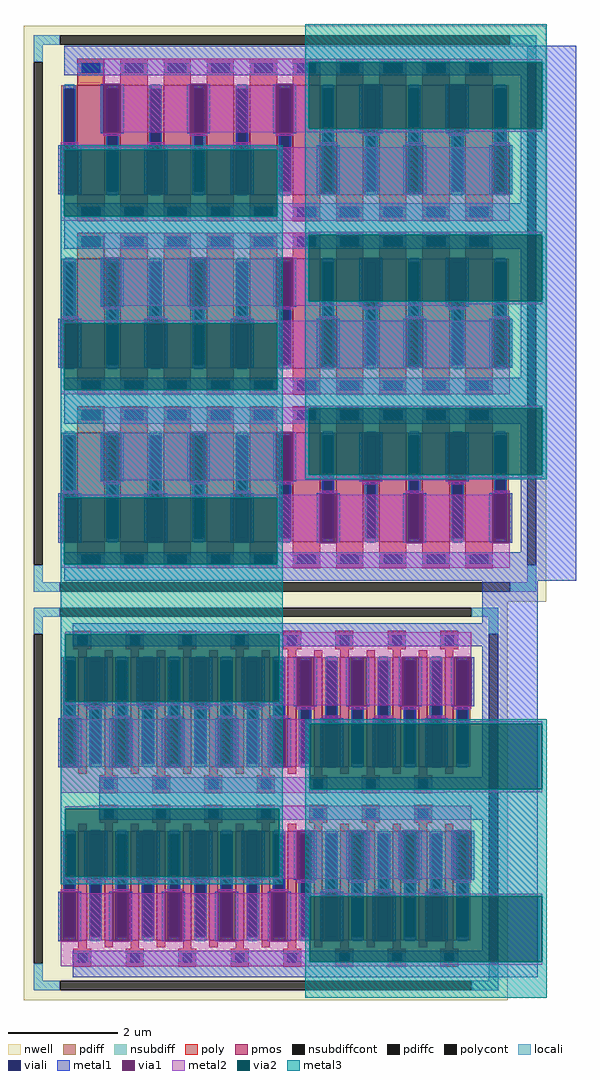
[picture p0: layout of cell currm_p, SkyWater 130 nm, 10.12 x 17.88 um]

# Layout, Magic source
magic
tech sky130A
magscale 1 2
<< metal1 >>
rect 1348 3588 3224 3696
rect 1482 3376 1492 3556
rect 1556 3376 1566 3556
rect 1798 3376 1808 3556
rect 1872 3376 1882 3556
rect 2114 3376 2124 3556
rect 2188 3376 2198 3556
rect 2430 3376 2440 3556
rect 2504 3376 2514 3556
rect 2746 3376 2756 3556
rect 2820 3376 2830 3556
rect 1326 3152 1336 3332
rect 1400 3152 1410 3332
rect 1642 3152 1652 3332
rect 1716 3152 1726 3332
rect 1958 3152 1968 3332
rect 2032 3152 2042 3332
rect 2274 3152 2284 3332
rect 2348 3152 2358 3332
rect 2590 3152 2600 3332
rect 2664 3152 2674 3332
rect 2906 3152 2916 3332
rect 2980 3152 2990 3332
rect 3020 3120 3224 3588
rect 1348 2952 3224 3120
rect 1482 2740 1492 2920
rect 1556 2740 1566 2920
rect 1798 2740 1808 2920
rect 1872 2740 1882 2920
rect 2114 2740 2124 2920
rect 2188 2740 2198 2920
rect 2430 2740 2440 2920
rect 2504 2740 2514 2920
rect 2746 2740 2756 2920
rect 2820 2740 2830 2920
rect 1326 2516 1336 2696
rect 1400 2516 1410 2696
rect 1642 2516 1652 2696
rect 1716 2516 1726 2696
rect 1958 2516 1968 2696
rect 2032 2516 2042 2696
rect 2274 2516 2284 2696
rect 2348 2516 2358 2696
rect 2590 2516 2600 2696
rect 2664 2516 2674 2696
rect 2906 2516 2916 2696
rect 2980 2516 2990 2696
rect 3020 2480 3224 2952
rect 1348 2312 3224 2480
rect 1482 2100 1492 2280
rect 1556 2100 1566 2280
rect 1798 2100 1808 2280
rect 1872 2100 1882 2280
rect 2114 2100 2124 2280
rect 2188 2100 2198 2280
rect 2430 2100 2440 2280
rect 2504 2100 2514 2280
rect 2746 2100 2756 2280
rect 2820 2100 2830 2280
rect 1326 1876 1336 2056
rect 1400 1876 1410 2056
rect 1642 1876 1652 2056
rect 1716 1876 1726 2056
rect 1958 1876 1968 2056
rect 2032 1876 2042 2056
rect 2274 1876 2284 2056
rect 2348 1876 2358 2056
rect 2590 1876 2600 2056
rect 2664 1876 2674 2056
rect 2906 1876 2916 2056
rect 2980 1876 2990 2056
rect 3020 1840 3224 2312
rect 1348 1736 3224 1840
rect 2880 1580 3084 1736
rect 1380 1496 3084 1580
rect 1422 1276 1432 1456
rect 1496 1276 1506 1456
rect 1614 1276 1624 1456
rect 1688 1276 1698 1456
rect 1806 1276 1816 1456
rect 1880 1276 1890 1456
rect 1998 1276 2008 1456
rect 2072 1276 2082 1456
rect 2190 1276 2200 1456
rect 2264 1276 2274 1456
rect 2382 1276 2392 1456
rect 2456 1276 2466 1456
rect 2574 1276 2584 1456
rect 2648 1276 2658 1456
rect 2766 1276 2776 1456
rect 2840 1276 2850 1456
rect 1326 1052 1336 1232
rect 1400 1052 1410 1232
rect 1514 1052 1524 1232
rect 1588 1052 1598 1232
rect 1706 1052 1716 1232
rect 1780 1052 1790 1232
rect 1902 1052 1912 1232
rect 1976 1052 1986 1232
rect 2094 1052 2104 1232
rect 2168 1052 2178 1232
rect 2286 1052 2296 1232
rect 2360 1052 2370 1232
rect 2478 1052 2488 1232
rect 2552 1052 2562 1232
rect 2670 1052 2680 1232
rect 2744 1052 2754 1232
rect 2880 1016 3084 1496
rect 1476 860 3084 1016
rect 1422 640 1432 820
rect 1496 640 1506 820
rect 1614 640 1624 820
rect 1688 640 1698 820
rect 1806 640 1816 820
rect 1880 640 1890 820
rect 1998 640 2008 820
rect 2072 640 2082 820
rect 2190 640 2200 820
rect 2264 640 2274 820
rect 2382 640 2392 820
rect 2456 640 2466 820
rect 2574 640 2584 820
rect 2648 640 2658 820
rect 2766 640 2776 820
rect 2840 640 2850 820
rect 1326 416 1336 596
rect 1400 416 1410 596
rect 1514 416 1524 596
rect 1588 416 1598 596
rect 1706 416 1716 596
rect 1780 416 1790 596
rect 1902 416 1912 596
rect 1976 416 1986 596
rect 2094 416 2104 596
rect 2168 416 2178 596
rect 2286 416 2296 596
rect 2360 416 2370 596
rect 2478 416 2488 596
rect 2552 416 2562 596
rect 2670 416 2680 596
rect 2744 416 2754 596
rect 2880 380 3084 860
rect 1380 284 3084 380
<< via1 >>
rect 1492 3376 1556 3556
rect 1808 3376 1872 3556
rect 2124 3376 2188 3556
rect 2440 3376 2504 3556
rect 2756 3376 2820 3556
rect 1336 3152 1400 3332
rect 1652 3152 1716 3332
rect 1968 3152 2032 3332
rect 2284 3152 2348 3332
rect 2600 3152 2664 3332
rect 2916 3152 2980 3332
rect 1492 2740 1556 2920
rect 1808 2740 1872 2920
rect 2124 2740 2188 2920
rect 2440 2740 2504 2920
rect 2756 2740 2820 2920
rect 1336 2516 1400 2696
rect 1652 2516 1716 2696
rect 1968 2516 2032 2696
rect 2284 2516 2348 2696
rect 2600 2516 2664 2696
rect 2916 2516 2980 2696
rect 1492 2100 1556 2280
rect 1808 2100 1872 2280
rect 2124 2100 2188 2280
rect 2440 2100 2504 2280
rect 2756 2100 2820 2280
rect 1336 1876 1400 2056
rect 1652 1876 1716 2056
rect 1968 1876 2032 2056
rect 2284 1876 2348 2056
rect 2600 1876 2664 2056
rect 2916 1876 2980 2056
rect 1432 1276 1496 1456
rect 1624 1276 1688 1456
rect 1816 1276 1880 1456
rect 2008 1276 2072 1456
rect 2200 1276 2264 1456
rect 2392 1276 2456 1456
rect 2584 1276 2648 1456
rect 2776 1276 2840 1456
rect 1336 1052 1400 1232
rect 1524 1052 1588 1232
rect 1716 1052 1780 1232
rect 1912 1052 1976 1232
rect 2104 1052 2168 1232
rect 2296 1052 2360 1232
rect 2488 1052 2552 1232
rect 2680 1052 2744 1232
rect 1432 640 1496 820
rect 1624 640 1688 820
rect 1816 640 1880 820
rect 2008 640 2072 820
rect 2200 640 2264 820
rect 2392 640 2456 820
rect 2584 640 2648 820
rect 2776 640 2840 820
rect 1336 416 1400 596
rect 1524 416 1588 596
rect 1716 416 1780 596
rect 1912 416 1976 596
rect 2104 416 2168 596
rect 2296 416 2360 596
rect 2488 416 2552 596
rect 2680 416 2744 596
<< metal2 >>
rect 1492 3646 2820 3648
rect 1492 3636 3100 3646
rect 1492 3556 2244 3636
rect 1556 3380 1808 3556
rect 1492 3366 1556 3376
rect 1872 3380 2124 3556
rect 1808 3366 1872 3376
rect 2188 3392 2244 3556
rect 2188 3380 2440 3392
rect 2124 3366 2188 3376
rect 2504 3380 2756 3392
rect 2440 3366 2504 3376
rect 2820 3382 3100 3392
rect 2756 3366 2820 3376
rect 1336 3332 1400 3342
rect 1652 3332 1716 3342
rect 1400 3316 1652 3326
rect 1968 3332 2032 3342
rect 1716 3316 1968 3326
rect 2284 3332 2348 3342
rect 2032 3324 2128 3326
rect 2032 3316 2284 3324
rect 2128 3152 2284 3316
rect 2600 3332 2664 3342
rect 2348 3152 2600 3324
rect 2916 3332 2980 3342
rect 2664 3152 2916 3324
rect 1336 3072 1348 3152
rect 2128 3072 2980 3152
rect 1336 3056 2980 3072
rect 2244 3012 3100 3014
rect 1492 3004 3100 3012
rect 1492 2920 2244 3004
rect 1556 2744 1808 2920
rect 1492 2730 1556 2740
rect 1872 2744 2124 2920
rect 1808 2730 1872 2740
rect 2188 2760 2244 2920
rect 2188 2744 2440 2760
rect 2124 2730 2188 2740
rect 2504 2744 2756 2760
rect 2440 2730 2504 2740
rect 2820 2750 3100 2760
rect 2756 2730 2820 2740
rect 1336 2696 1400 2706
rect 1652 2696 1716 2706
rect 1400 2680 1652 2690
rect 1968 2696 2032 2706
rect 1716 2680 1968 2690
rect 2284 2696 2348 2706
rect 2032 2688 2128 2690
rect 2032 2680 2284 2688
rect 2128 2516 2284 2680
rect 2600 2696 2664 2706
rect 2348 2516 2600 2688
rect 2916 2696 2980 2706
rect 2664 2516 2916 2688
rect 1336 2436 1348 2516
rect 2128 2436 2980 2516
rect 1336 2420 2980 2436
rect 2244 2372 3100 2378
rect 1492 2368 3100 2372
rect 1492 2280 2244 2368
rect 1556 2104 1808 2280
rect 1492 2090 1556 2100
rect 1872 2104 2124 2280
rect 1808 2090 1872 2100
rect 2188 2124 2244 2280
rect 2188 2104 2440 2124
rect 2124 2090 2188 2100
rect 2504 2104 2756 2124
rect 2440 2090 2504 2100
rect 2820 2114 3100 2124
rect 2756 2090 2820 2100
rect 1336 2056 1400 2066
rect 1652 2056 1716 2066
rect 1400 2040 1652 2052
rect 1968 2056 2032 2066
rect 1716 2040 1968 2052
rect 2284 2056 2348 2066
rect 2032 2040 2284 2052
rect 2128 1876 2284 2040
rect 2600 2056 2664 2066
rect 2348 1876 2600 2052
rect 2916 2056 2980 2066
rect 2664 1876 2916 2052
rect 1336 1796 1348 1876
rect 2128 1796 2980 1876
rect 1336 1784 2980 1796
rect 1352 1548 2136 1550
rect 1352 1540 2840 1548
rect 2136 1456 2840 1540
rect 2136 1292 2200 1456
rect 1352 1282 1432 1292
rect 1496 1280 1624 1292
rect 1432 1266 1496 1276
rect 1688 1280 1816 1292
rect 1624 1266 1688 1276
rect 1880 1280 2008 1292
rect 1816 1266 1880 1276
rect 2072 1280 2200 1292
rect 2008 1266 2072 1276
rect 2264 1280 2392 1456
rect 2200 1266 2264 1276
rect 2456 1280 2584 1456
rect 2392 1266 2456 1276
rect 2648 1280 2776 1456
rect 2584 1266 2648 1276
rect 2776 1266 2840 1276
rect 1336 1232 1400 1242
rect 1524 1232 1588 1242
rect 1400 1052 1524 1228
rect 1716 1232 1780 1242
rect 1588 1052 1716 1228
rect 1912 1232 1976 1242
rect 1780 1052 1912 1228
rect 2104 1232 2168 1242
rect 1976 1052 2104 1228
rect 2296 1232 2360 1242
rect 2168 1212 2296 1228
rect 2488 1232 2552 1242
rect 2360 1212 2488 1228
rect 2680 1232 2744 1242
rect 2552 1212 2680 1228
rect 2744 1212 3100 1222
rect 2168 1052 2248 1212
rect 1336 972 2248 1052
rect 1336 962 3100 972
rect 1336 960 2744 962
rect 1432 910 2840 912
rect 1352 900 2840 910
rect 2136 820 2840 900
rect 2136 652 2200 820
rect 1352 642 1432 652
rect 1496 642 1624 652
rect 1432 630 1496 640
rect 1688 642 1816 652
rect 1624 630 1688 640
rect 1880 642 2008 652
rect 1816 630 1880 640
rect 2072 644 2200 652
rect 2072 642 2136 644
rect 2008 630 2072 640
rect 2264 644 2392 820
rect 2200 630 2264 640
rect 2456 644 2584 820
rect 2392 630 2456 640
rect 2648 644 2776 820
rect 2584 630 2648 640
rect 2776 630 2840 640
rect 1336 596 1400 606
rect 1524 596 1588 606
rect 1400 416 1524 592
rect 1716 596 1780 606
rect 1588 416 1716 592
rect 1912 596 1976 606
rect 1780 416 1912 592
rect 2104 596 2168 606
rect 1976 416 2104 592
rect 2296 596 2360 606
rect 2168 580 2296 592
rect 2488 596 2552 606
rect 2360 580 2488 592
rect 2680 596 2744 606
rect 2552 580 2680 592
rect 2744 580 3100 590
rect 2168 416 2248 580
rect 1336 340 2248 416
rect 1336 330 3100 340
rect 1336 324 2744 330
<< via2 >>
rect 2244 3556 3100 3636
rect 2244 3392 2440 3556
rect 2440 3392 2504 3556
rect 2504 3392 2756 3556
rect 2756 3392 2820 3556
rect 2820 3392 3100 3556
rect 1348 3152 1400 3316
rect 1400 3152 1652 3316
rect 1652 3152 1716 3316
rect 1716 3152 1968 3316
rect 1968 3152 2032 3316
rect 2032 3152 2128 3316
rect 1348 3072 2128 3152
rect 2244 2920 3100 3004
rect 2244 2760 2440 2920
rect 2440 2760 2504 2920
rect 2504 2760 2756 2920
rect 2756 2760 2820 2920
rect 2820 2760 3100 2920
rect 1348 2516 1400 2680
rect 1400 2516 1652 2680
rect 1652 2516 1716 2680
rect 1716 2516 1968 2680
rect 1968 2516 2032 2680
rect 2032 2516 2128 2680
rect 1348 2436 2128 2516
rect 2244 2280 3100 2368
rect 2244 2124 2440 2280
rect 2440 2124 2504 2280
rect 2504 2124 2756 2280
rect 2756 2124 2820 2280
rect 2820 2124 3100 2280
rect 1348 1876 1400 2040
rect 1400 1876 1652 2040
rect 1652 1876 1716 2040
rect 1716 1876 1968 2040
rect 1968 1876 2032 2040
rect 2032 1876 2128 2040
rect 1348 1796 2128 1876
rect 1352 1456 2136 1540
rect 1352 1292 1432 1456
rect 1432 1292 1496 1456
rect 1496 1292 1624 1456
rect 1624 1292 1688 1456
rect 1688 1292 1816 1456
rect 1816 1292 1880 1456
rect 1880 1292 2008 1456
rect 2008 1292 2072 1456
rect 2072 1292 2136 1456
rect 2248 1052 2296 1212
rect 2296 1052 2360 1212
rect 2360 1052 2488 1212
rect 2488 1052 2552 1212
rect 2552 1052 2680 1212
rect 2680 1052 2744 1212
rect 2744 1052 3100 1212
rect 2248 972 3100 1052
rect 1352 820 2136 900
rect 1352 652 1432 820
rect 1432 652 1496 820
rect 1496 652 1624 820
rect 1624 652 1688 820
rect 1688 652 1816 820
rect 1816 652 1880 820
rect 1880 652 2008 820
rect 2008 652 2072 820
rect 2072 652 2136 820
rect 2248 416 2296 580
rect 2296 416 2360 580
rect 2360 416 2488 580
rect 2488 416 2552 580
rect 2552 416 2680 580
rect 2680 416 2744 580
rect 2744 416 3100 580
rect 2248 340 3100 416
<< metal3 >>
rect 2232 3636 3116 3776
rect 2232 3392 2244 3636
rect 3100 3392 3116 3636
rect 1336 3316 2148 3332
rect 1336 3072 1348 3316
rect 2128 3072 2148 3316
rect 1336 2680 2148 3072
rect 1336 2436 1348 2680
rect 2128 2436 2148 2680
rect 1336 2040 2148 2436
rect 2232 3004 3116 3392
rect 2232 2760 2244 3004
rect 3100 2760 3116 3004
rect 2232 2368 3116 2760
rect 2232 2124 2244 2368
rect 3100 2124 3116 2368
rect 2232 2108 3116 2124
rect 1336 1796 1348 2040
rect 2128 1796 2148 2040
rect 1336 1540 2148 1796
rect 1336 1292 1352 1540
rect 2136 1292 2148 1540
rect 1336 900 2148 1292
rect 1336 652 1352 900
rect 2136 652 2148 900
rect 1336 624 2148 652
rect 2232 1212 3116 1228
rect 2232 972 2248 1212
rect 3100 972 3116 1212
rect 2232 580 3116 972
rect 2232 340 2248 580
rect 3100 340 3116 580
rect 2232 208 3116 340
use sky130_fd_pr__pfet_01v8_QZVKPD  sky130_fd_pr__pfet_01v8_QZVKPD_1
transform 1 0 2157 0 1 2715
box -957 -1055 957 1055
use sky130_fd_pr__pfet_01v8_VC7ZFX  sky130_fd_pr__pfet_01v8_VC7ZFX_1
transform 1 0 2087 0 1 937
box -887 -737 887 737
<< end >>

# cell sky130_fd_pr__pfet_01v8_QZVKPD: kit device sky130_fd_pr__pfet_01v8, w 2 l 0.5 m 3 nf 10 diffcov 100 polycov 100 guard 1 glc 1 grc 1 gtc 1 gbc 1 tbcov 100 rlcov 100 topc 1 botc 1 poverlap 0 doverlap 1 lmin 0.15 wmin 0.42 compatible {sky130_fd_pr__pfet_01v8 sky130_fd_pr__pfet_01v8_lvt sky130_fd_pr__pfet_01v8_hvt sky130_fd_pr__pfet_g5v0d10v5} full_metal 1 viasrc 100 viadrn 100 viagate 100 viagb 0 viagr 0 viagl 0 viagt 0

# cell sky130_fd_pr__pfet_01v8_VC7ZFX: kit device sky130_fd_pr__pfet_01v8, w 2 l 0.15 m 2 nf 15 diffcov 100 polycov 100 guard 1 glc 1 grc 1 gtc 1 gbc 1 tbcov 100 rlcov 100 topc 1 botc 1 poverlap 0 doverlap 1 lmin 0.15 wmin 0.42 compatible {sky130_fd_pr__pfet_01v8 sky130_fd_pr__pfet_01v8_lvt sky130_fd_pr__pfet_01v8_hvt sky130_fd_pr__pfet_g5v0d10v5} full_metal 1 viasrc 100 viadrn 100 viagate 100 viagb 0 viagr 0 viagl 0 viagt 0
